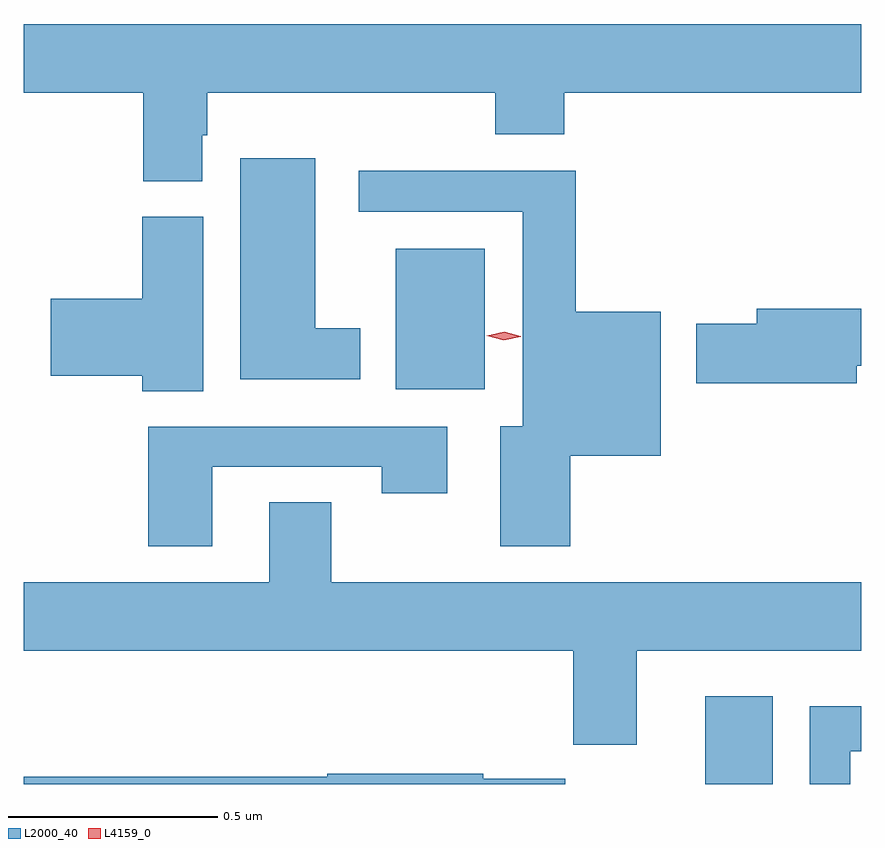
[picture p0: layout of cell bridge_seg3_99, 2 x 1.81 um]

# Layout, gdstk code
import gdstk
lib = gdstk.Library(unit=1e-6, precision=1e-09)
def R(c, l, rs):  # rectangles x0, y0, x1, y1
    for r in rs: c.add(gdstk.rectangle(r[:2], r[2:], *l))
def P(c, l, *ps):  # polygons
    for p in ps: c.add(gdstk.Polygon(p, *l))
L2000_40 = (2000, 40)
L4159_0 = (4159, 0)

bridge_seg3_99 = lib.new_cell('bridge_seg3_99')
R(bridge_seg3_99, L2000_40, [(626.9,744.554,627.061,744.763), (626.162,745.496,626.374,745.831)])
P(bridge_seg3_99, L2000_40, [(625.699,746.103),(625.712,746.103),(625.712,746.204),(626.399,746.204),(626.399,746.105),(626.564,746.105),(626.564,746.204),(627.273,746.204),(627.273,746.368),(625.273,746.368),(625.273,746.204),(625.559,746.204),(625.559,745.993),(625.699,745.993)],
  [(626.077,745.642),(625.969,745.642),(625.969,746.047),(625.79,746.047),(625.79,745.52),(626.077,745.52)],
  [(626.578,745.337),(626.794,745.337),(626.794,745.681),(626.591,745.681),(626.591,746.018),(626.073,746.018),(626.073,745.92),(626.465,745.92),(626.465,745.408),(626.411,745.408),(626.411,745.122),(626.578,745.122)],
  [(625.702,745.908),(625.556,745.908),(625.556,745.712),(625.338,745.712),(625.338,745.529),(625.556,745.529),(625.556,745.492),(625.702,745.492)],
  [(627.262,745.552),(627.273,745.552),(627.273,745.688),(627.023,745.688),(627.023,745.652),(626.879,745.652),(626.879,745.51),(627.262,745.51)],
  [(625.723,745.311),(626.128,745.311),(626.128,745.248),(626.284,745.248),(626.284,745.407),(625.571,745.407),(625.571,745.122),(625.723,745.122)],
  [(626.737,744.872),(627.273,744.872),(627.273,745.036),(626.007,745.036),(626.007,745.226),(625.859,745.226),(625.859,745.036),(625.273,745.036),(625.273,744.872),(626.585,744.872),(626.585,744.648),(626.737,744.648)],
  [(627.246,744.632),(627.273,744.632),(627.273,744.739),(627.15,744.739),(627.15,744.554),(627.246,744.554)],
  [(626.566,744.567),(626.37,744.567),(626.37,744.579),(625.998,744.579),(625.998,744.571),(625.273,744.571),(625.273,744.554),(626.566,744.554)])
P(bridge_seg3_99, L4159_0, [(626.419,745.613),(626.379,745.624),(626.379,745.624),(626.379,745.624),(626.42,745.633),(626.46,745.623),(626.46,745.622),(626.46,745.622)])

lib.write_gds('bridge_seg3_99.gds')
